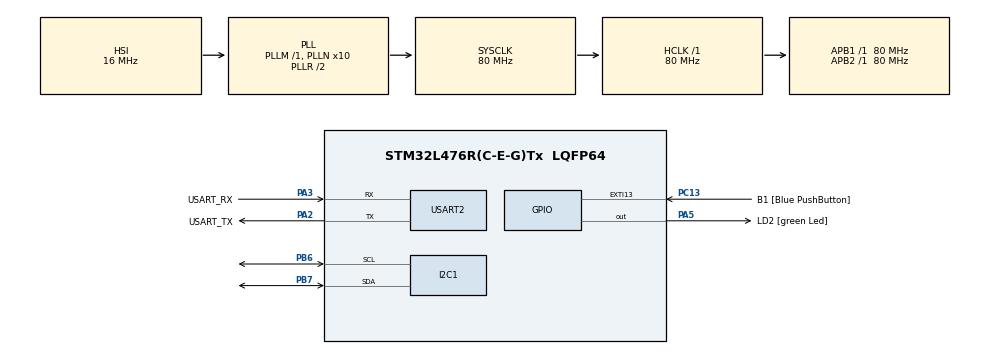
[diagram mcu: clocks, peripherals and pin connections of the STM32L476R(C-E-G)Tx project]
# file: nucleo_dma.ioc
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Dma.I2C1_RX.0.Direction=DMA_PERIPH_TO_MEMORY
Dma.I2C1_RX.0.Instance=DMA1_Channel7
Dma.I2C1_RX.0.MemDataAlignment=DMA_MDATAALIGN_BYTE
Dma.I2C1_RX.0.MemInc=DMA_MINC_ENABLE
Dma.I2C1_RX.0.Mode=DMA_NORMAL
Dma.I2C1_RX.0.PeriphDataAlignment=DMA_PDATAALIGN_BYTE
Dma.I2C1_RX.0.PeriphInc=DMA_PINC_DISABLE
Dma.I2C1_RX.0.Priority=DMA_PRIORITY_LOW
Dma.I2C1_TX.1.Direction=DMA_MEMORY_TO_PERIPH
Dma.I2C1_TX.1.Instance=DMA1_Channel6
Dma.I2C1_TX.1.MemDataAlignment=DMA_MDATAALIGN_BYTE
Dma.I2C1_TX.1.MemInc=DMA_MINC_ENABLE
Dma.I2C1_TX.1.Mode=DMA_NORMAL
Dma.I2C1_TX.1.PeriphDataAlignment=DMA_PDATAALIGN_BYTE
Dma.I2C1_TX.1.PeriphInc=DMA_PINC_DISABLE
Dma.I2C1_TX.1.Priority=DMA_PRIORITY_LOW
Dma.Request0=I2C1_RX
Dma.Request1=I2C1_TX
Mcu.Family=STM32L4
Mcu.Name=STM32L476R(C-E-G)Tx
Mcu.Package=LQFP64
NVIC.DMA1_Channel6_IRQn=true\:0\:0\:false\:false\:true\:false\:true
NVIC.DMA1_Channel7_IRQn=true\:0\:0\:false\:false\:true\:false\:true
NVIC.I2C1_EV_IRQn=true\:0\:0\:false\:false\:true\:true\:true
NVIC.PriorityGroup=NVIC_PRIORITYGROUP_4
PA13\ (JTMS-SWDIO).GPIO_Label=TMS
PA13\ (JTMS-SWDIO).Mode=Serial_Wire
PA13\ (JTMS-SWDIO).Signal=SYS_JTMS-SWDIO
PA14\ (JTCK-SWCLK).GPIO_Label=TCK
PA14\ (JTCK-SWCLK).Mode=Serial_Wire
PA14\ (JTCK-SWCLK).Signal=SYS_JTCK-SWCLK
PA2.GPIO_Label=USART_TX
PA2.GPIO_Mode=GPIO_MODE_AF_PP
PA2.GPIO_PuPd=GPIO_NOPULL
PA2.GPIO_Speed=GPIO_SPEED_FREQ_VERY_HIGH
PA2.Mode=Asynchronous
PA2.Signal=USART2_TX
PA3.GPIO_Label=USART_RX
PA3.GPIO_Mode=GPIO_MODE_AF_PP
PA3.GPIO_PuPd=GPIO_NOPULL
PA3.GPIO_Speed=GPIO_SPEED_FREQ_VERY_HIGH
PA3.Mode=Asynchronous
PA3.Signal=USART2_RX
PA5.GPIO_Label=LD2 [green Led]
PA5.GPIO_ModeDefaultOutputPP=GPIO_MODE_OUTPUT_PP
PA5.GPIO_PuPd=GPIO_NOPULL
PA5.GPIO_Speed=GPIO_SPEED_FREQ_LOW
PA5.Signal=GPIO_Output
PB3\ (JTDO-TRACESWO).GPIO_Label=SWO
PB3\ (JTDO-TRACESWO).Signal=SYS_JTDO-SWO
PB6.Mode=I2C
PB6.Signal=I2C1_SCL
PB7.Mode=I2C
PB7.Signal=I2C1_SDA
PC13.GPIO_Label=B1 [Blue PushButton]
PC13.GPIO_ModeDefaultEXTI=GPIO_MODE_IT_FALLING
PC13.GPIO_PuPd=GPIO_NOPULL
PC13.Signal=GPXTI13
PC14-OSC32_IN\ (PC14).Mode=LSE-External-Oscillator
PC14-OSC32_IN\ (PC14).Signal=RCC_OSC32_IN
PC15-OSC32_OUT\ (PC15).Mode=LSE-External-Oscillator
PC15-OSC32_OUT\ (PC15).Signal=RCC_OSC32_OUT
PH0-OSC_IN\ (PH0).Signal=RCC_OSC_IN
PH1-OSC_OUT\ (PH1).Signal=RCC_OSC_OUT
ProjectManager.HeapSize=0x200
ProjectManager.StackSize=0x400
ProjectManager.TargetToolchain=Makefile
RCC.ADCFreq_Value=64000000
RCC.AHBFreq_Value=80000000
RCC.APB1Freq_Value=80000000
RCC.APB1TimFreq_Value=80000000
RCC.APB2Freq_Value=80000000
RCC.APB2TimFreq_Value=80000000
RCC.CortexFreq_Value=80000000
RCC.HCLKFreq_Value=80000000
RCC.HSE_VALUE=8000000
RCC.HSI_VALUE=16000000
RCC.MSI_VALUE=4000000
RCC.PLLN=10
RCC.PLLSourceVirtual=RCC_PLLSOURCE_HSI
RCC.PREFETCH_ENABLE=1
RCC.SYSCLKFreq_VALUE=80000000
RCC.SYSCLKSource=RCC_SYSCLKSOURCE_PLLCLK
RCC.USBFreq_Value=64000000
RCC.VCOOutputFreq_Value=160000000
USART2.VirtualMode-Asynchronous=VM_ASYNC
board=NUCLEO-L476RG

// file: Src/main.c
/* USER CODE BEGIN Header */
/**
 ******************************************************************************
 * @file           : main.c
 * @brief          : Main program body
 ******************************************************************************
 * @attention
 *
 * <h2><center>&copy; Copyright (c) 2019 STMicroelectronics.
 * All rights reserved.</center></h2>
 *
 * This software component is licensed by ST under BSD 3-Clause license,
 * the "License"; You may not use this file except in compliance with the
 * License. You may obtain a copy of the License at:
 *                        opensource.org/licenses/BSD-3-Clause
 *
 ******************************************************************************
 */
/* USER CODE END Header */

#include "main.h"
#include <stdio.h>
#include <string.h>
#include "dma.h"
#include "gpio.h"
#include "i2c.h"
#include "usart.h"

/* USER CODE BEGIN PD */
#define I2C_BUF_SIZE 100
#define true 1
#define false 0
#define Addr_Accl 0x19
#define Addr_Gyro 0x69
#define AcclReading 0
#define GyroReading 1

/* USER CODE END PD */

/* USER CODE BEGIN PV */
char k[I2C_BUF_SIZE];

float xAccl = 0.00;
float yAccl = 0.00;
float zAccl = 0.00;

float xGyro = 0.00;
float yGyro = 0.00;
float zGyro = 0.00;

int I2cState = AcclReading;

typedef struct {
  /* data */
  uint8_t xLSB;
  uint8_t xMSB;
  uint8_t yLSB;
  uint8_t yMSB;
  uint8_t zLSB;
  uint8_t zMSB;

} bmx;
bmx Accl_temp = {0,0,0,0,0,0};
bmx Accl = {0,0,0,0,0,0};

bmx Gyro_temp = {0,0,0,0,0,0};
bmx Gyro = {0,0,0,0,0,0};

/* USER CODE END PV */

void SystemClock_Config(void);
/* USER CODE BEGIN PFP */
void Show_float(char*, float);
void BMX_Init(void);

/* USER CODE END PFP */

int main(void) {

  /* MCU Configuration--------------------------------------------------------*/

  /* Reset of all peripherals, Initializes the Flash interface and the Systick.
   */
  HAL_Init();

  /* Configure the system clock */
  SystemClock_Config();

  /* Initialize all configured peripherals */
  MX_GPIO_Init();
  MX_DMA_Init();
  MX_USART2_UART_Init();
  MX_I2C1_Init();
  /* USER CODE BEGIN 2 */
  BMX_Init();
  // first time to read sensor value
  HAL_I2C_Mem_Read_DMA(&hi2c1, Addr_Accl << 1, 0x02, 1,(&Accl_temp), 6);
  /* USER CODE END 2 */

  /* Infinite loop */
  /* USER CODE BEGIN WHILE */
  uint8_t i = 0;
  while (1) {
    /* USER CODE END WHILE */
    sprintf(k, "kaisuu : %d\n", i++);
    HAL_UART_Transmit(&huart2, (uint8_t *)(&k[0]), strlen(&k[0]), 100);

    //show balues
      Show_float("xAccl = ",xAccl);
      Show_float("yAccl = ",yAccl);
      Show_float("zAccl = ",zAccl);

      Show_float("xGyro = ",xGyro);
      Show_float("yGyro = ",yGyro);
      Show_float("zGyro = ",zGyro);

      HAL_Delay(1000);

    }

  }

void SystemClock_Config(void) {
  RCC_OscInitTypeDef RCC_OscInitStruct = {0};
  RCC_ClkInitTypeDef RCC_ClkInitStruct = {0};
  RCC_PeriphCLKInitTypeDef PeriphClkInit = {0};

  /** Initializes the CPU, AHB and APB busses clocks
   */
  RCC_OscInitStruct.OscillatorType = RCC_OSCILLATORTYPE_HSI;
  RCC_OscInitStruct.HSIState = RCC_HSI_ON;
  RCC_OscInitStruct.HSICalibrationValue = RCC_HSICALIBRATION_DEFAULT;
  RCC_OscInitStruct.PLL.PLLState = RCC_PLL_ON;
  RCC_OscInitStruct.PLL.PLLSource = RCC_PLLSOURCE_HSI;
  RCC_OscInitStruct.PLL.PLLM = 1;
  RCC_OscInitStruct.PLL.PLLN = 10;
  RCC_OscInitStruct.PLL.PLLP = RCC_PLLP_DIV7;
  RCC_OscInitStruct.PLL.PLLQ = RCC_PLLQ_DIV2;
  RCC_OscInitStruct.PLL.PLLR = RCC_PLLR_DIV2;
  if (HAL_RCC_OscConfig(&RCC_OscInitStruct) != HAL_OK) {
    Error_Handler();
  }
  /** Initializes the CPU, AHB and APB busses clocks
   */
  RCC_ClkInitStruct.ClockType = RCC_CLOCKTYPE_HCLK | RCC_CLOCKTYPE_SYSCLK |
                                RCC_CLOCKTYPE_PCLK1 | RCC_CLOCKTYPE_PCLK2;
  RCC_ClkInitStruct.SYSCLKSource = RCC_SYSCLKSOURCE_PLLCLK;
  RCC_ClkInitStruct.AHBCLKDivider = RCC_SYSCLK_DIV1;
  RCC_ClkInitStruct.APB1CLKDivider = RCC_HCLK_DIV1;
  RCC_ClkInitStruct.APB2CLKDivider = RCC_HCLK_DIV1;

  if (HAL_RCC_ClockConfig(&RCC_ClkInitStruct, FLASH_LATENCY_4) != HAL_OK) {
    Error_Handler();
  }
  PeriphClkInit.PeriphClockSelection =
      RCC_PERIPHCLK_USART2 | RCC_PERIPHCLK_I2C1;
  PeriphClkInit.Usart2ClockSelection = RCC_USART2CLKSOURCE_PCLK1;
  PeriphClkInit.I2c1ClockSelection = RCC_I2C1CLKSOURCE_PCLK1;
  if (HAL_RCCEx_PeriphCLKConfig(&PeriphClkInit) != HAL_OK) {
    Error_Handler();
  }
  /** Configure the main internal regulator output voltage
   */
  if (HAL_PWREx_ControlVoltageScaling(PWR_REGULATOR_VOLTAGE_SCALE1) != HAL_OK) {
    Error_Handler();
  }
}

/* USER CODE BEGIN 4 */

/** BMX Init*/
void BMX_Init(void){

//Accl initialization

//select PMU band width resisiter and set to 7.81 Hz
uint16_t Mem_PMU_BW = 0x10;
uint8_t p_BW = 0x08;
HAL_I2C_Mem_Write(&hi2c1,Addr_Accl<<1,Mem_PMU_BW,1,&p_BW,1,100);
HAL_Delay(100);

//select PMU range resisiter and set to -2
uint16_t Mem_PMU_Range = 0x0F;
uint8_t p_Range = 0x03;
HAL_I2C_Mem_Write(&hi2c1,Addr_Accl<<1,Mem_PMU_Range,1,&p_Range,1,100);
HAL_Delay(100);

//select PMU LPW resisiter and Normal mode
uint16_t Mem_PMU_LPW = 0x11;
uint8_t p_LPW = 0x00;
HAL_I2C_Mem_Write(&hi2c1,Addr_Accl<<1,Mem_PMU_LPW,1,&p_LPW,1,100);
HAL_Delay(100);

//Gyro initialization
// Range
uint16_t Mem_G_Range= 0x0F;
uint8_t G_Range = 0x04;
HAL_I2C_Mem_Write(&hi2c1,Addr_Gyro<<1,Mem_G_Range,1,&G_Range,1,100);
HAL_Delay(100);

// Band width
uint16_t Mem_G_BW= 0x10;
uint8_t G_BW = 0x07;
HAL_I2C_Mem_Write(&hi2c1,Addr_Gyro<<1,Mem_G_BW,1,&G_BW,1,100);
HAL_Delay(100);

// Mode_select
uint16_t Mem_G_Mode= 0x11;
uint8_t G_Mode = 0x00;
HAL_I2C_Mem_Write(&hi2c1,Addr_Gyro<<1,Mem_G_Mode,1,&G_Mode,1,100);
HAL_Delay(100);
}

void HAL_I2C_MemRxCpltCallback(I2C_HandleTypeDef *hi2c1) {

  // Accl Reading
if(I2cState == AcclReading){

  if((Accl_temp.xLSB && 0b00000001 == 0b00000001)) {

      Accl.xLSB = Accl_temp.xLSB;
      Accl.xMSB = Accl_temp.xMSB;
      xAccl = ((Accl.xMSB*256) + (Accl.xLSB & 0xF0))/16;
      if(xAccl>2047) xAccl -= 4096;
      xAccl = xAccl*0.0098;
  }
  if((Accl_temp.yLSB && 0b00000001 == 0b00000001)){

      Accl.yLSB = Accl_temp.yLSB;
      Accl.yMSB = Accl_temp.yMSB;
      yAccl = ((Accl.yMSB*256) + (Accl.yLSB & 0xF0))/16;
      if(yAccl>2047) yAccl -= 4096;
      yAccl = yAccl*0.0098;
  }

  if((Accl_temp.zLSB && 0b00000001 == 0b00000001)){

      Accl.zLSB = Accl_temp.zLSB;
      Accl.zMSB = Accl_temp.zMSB;
      zAccl = ((Accl.zMSB*256) + (Accl.zLSB & 0xF0))/16;
      if(zAccl>2047) zAccl -= 4096;
      zAccl = zAccl*0.0098;
  }

  HAL_I2C_Mem_Read_DMA(hi2c1, Addr_Gyro << 1, 0x02, 1, &Gyro_temp, 6);
  I2cState = GyroReading;
}

  // Gyro Reading
if(I2cState == GyroReading){

    if((Gyro_temp.xLSB && 0b00000001 == 0b00000001)) {

      Gyro.xLSB = Gyro_temp.xLSB;
      Gyro.xMSB = Gyro_temp.xMSB;
      xGyro = Gyro.xMSB*256 + Gyro.xLSB;
      if(xGyro>32767) xGyro -= 65536;
      xGyro = xGyro*0.0038;
  }
  if((Gyro_temp.yLSB && 0b00000001 == 0b00000001)){

      Gyro.yLSB = Gyro_temp.yLSB;
      Gyro.yMSB = Gyro_temp.yMSB;
      yGyro = Gyro.yMSB*256 + Gyro.yLSB;
      if(yGyro>32767) yGyro -= 65536;
      yGyro = yGyro*0.0038;
  }

  if((Gyro_temp.zLSB && 0b00000001 == 0b00000001)){

      Gyro.zLSB = Gyro_temp.zLSB;
      Gyro.zMSB = Gyro_temp.zMSB;
      zGyro = Gyro.zMSB*256 + Gyro.zLSB;
      if(zGyro>32767) zGyro -= 65536;
      zGyro = zGyro*0.0038;
  }

  HAL_I2C_Mem_Read_DMA(hi2c1, Addr_Accl << 1, 0x02, 1, &Accl_temp, 6); //関数定義でhi2cのポインタを引数として渡しているため、HAL_I2C_Mem_Read_DMAの引数は&hi2c1ではなくhi2c1
  I2cState = AcclReading;
}

}

void Show_float(char *str, float value){
  char temp[20];
  char *tempsign = (value < 0) ? "-":"";
  double tempval = (value<0) ? -1*value:value;
  int tempInt1 = (int)tempval;
  float tempfrac = tempval - tempInt1;
  int tempInt2 = trunc(tempfrac*100000);

  sprintf(temp,"%s%s%d.%04d\n",str,tempsign,tempInt1,tempInt2);
  HAL_UART_Transmit (&huart2,(uint8_t*)(&temp[0]),strlen(&temp[0]),100);
}

/* USER CODE END 4 */

void Error_Handler(void) {
}

#ifdef USE_FULL_ASSERT
/**
 * @brief  Reports the name of the source file and the source line number
 *         where the assert_param error has occurred.
 * @param  file: pointer to the source file name
 * @param  line: assert_param error line source number
 * @retval None
 */
void assert_failed(char *file, uint32_t line) {
  /* USER CODE BEGIN 6 */
  /* User can add his own implementation to report the file name and line
     number,
     tex: printf("Wrong parameters value: file %s on line %d\r\n", file, line)
   */
  /* USER CODE END 6 */
}
#endif /* USE_FULL_ASSERT */

/************************ (C) COPYRIGHT STMicroelectronics *****END OF FILE****/
